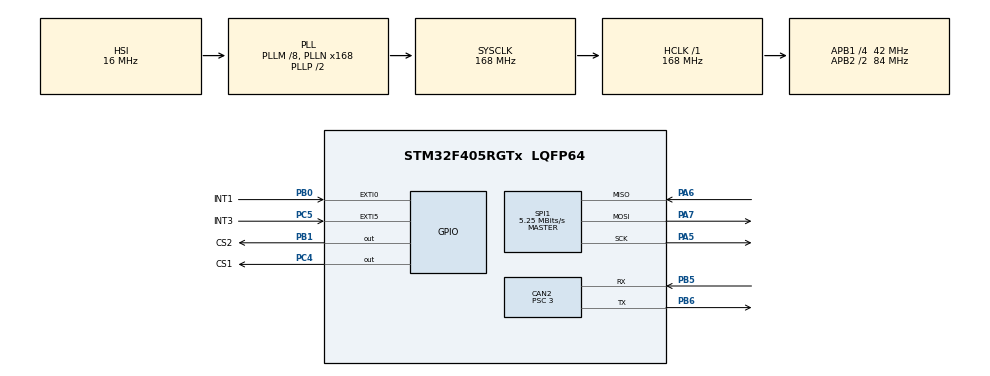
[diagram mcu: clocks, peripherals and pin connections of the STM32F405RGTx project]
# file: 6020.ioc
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CAN2.ABOM=ENABLE
CAN2.AWUM=ENABLE
CAN2.BS1=CAN_BS1_10TQ
CAN2.BS2=CAN_BS2_3TQ
CAN2.CalculateBaudRate=1000000
CAN2.CalculateTimeBit=1000
CAN2.CalculateTimeQuantum=71.42857142857143
CAN2.NART=ENABLE
CAN2.Prescaler=3
Dma.Request0=SPI1_RX
Dma.Request1=SPI1_TX
Dma.SPI1_RX.0.Direction=DMA_PERIPH_TO_MEMORY
Dma.SPI1_RX.0.FIFOMode=DMA_FIFOMODE_DISABLE
Dma.SPI1_RX.0.Instance=DMA2_Stream2
Dma.SPI1_RX.0.MemDataAlignment=DMA_MDATAALIGN_BYTE
Dma.SPI1_RX.0.MemInc=DMA_MINC_ENABLE
Dma.SPI1_RX.0.Mode=DMA_NORMAL
Dma.SPI1_RX.0.PeriphDataAlignment=DMA_PDATAALIGN_BYTE
Dma.SPI1_RX.0.PeriphInc=DMA_PINC_DISABLE
Dma.SPI1_RX.0.Priority=DMA_PRIORITY_VERY_HIGH
Dma.SPI1_TX.1.Direction=DMA_MEMORY_TO_PERIPH
Dma.SPI1_TX.1.FIFOMode=DMA_FIFOMODE_DISABLE
Dma.SPI1_TX.1.Instance=DMA2_Stream3
Dma.SPI1_TX.1.MemDataAlignment=DMA_MDATAALIGN_BYTE
Dma.SPI1_TX.1.MemInc=DMA_MINC_ENABLE
Dma.SPI1_TX.1.Mode=DMA_NORMAL
Dma.SPI1_TX.1.PeriphDataAlignment=DMA_PDATAALIGN_BYTE
Dma.SPI1_TX.1.PeriphInc=DMA_PINC_DISABLE
Dma.SPI1_TX.1.Priority=DMA_PRIORITY_HIGH
Mcu.Family=STM32F4
Mcu.Name=STM32F405RGTx
Mcu.Package=LQFP64
NVIC.CAN2_RX0_IRQn=true\:0\:0\:false\:false\:true\:true\:true\:true
NVIC.CAN2_TX_IRQn=true\:0\:0\:false\:false\:true\:true\:true\:true
NVIC.DMA2_Stream2_IRQn=true\:6\:0\:true\:false\:true\:false\:true\:true
NVIC.DMA2_Stream3_IRQn=true\:6\:0\:true\:false\:true\:false\:true\:true
NVIC.PriorityGroup=NVIC_PRIORITYGROUP_4
PA13.Mode=Serial_Wire
PA13.Signal=SYS_JTMS-SWDIO
PA14.Mode=Serial_Wire
PA14.Signal=SYS_JTCK-SWCLK
PA5.Mode=Full_Duplex_Master
PA5.Signal=SPI1_SCK
PA6.Mode=Full_Duplex_Master
PA6.Signal=SPI1_MISO
PA7.Mode=Full_Duplex_Master
PA7.Signal=SPI1_MOSI
PB0.GPIO_Label=INT1
PB0.GPIO_ModeDefaultEXTI=GPIO_MODE_IT_FALLING
PB0.GPIO_PuPd=GPIO_PULLUP
PB0.Signal=GPXTI0
PB1.GPIO_Label=CS2
PB1.GPIO_PuPd=GPIO_PULLUP
PB1.GPIO_Speed=GPIO_SPEED_FREQ_HIGH
PB1.PinState=GPIO_PIN_SET
PB1.Signal=GPIO_Output
PB5.Mode=CAN_Activate
PB5.Signal=CAN2_RX
PB6.Mode=CAN_Activate
PB6.Signal=CAN2_TX
PC4.GPIO_Label=CS1
PC4.GPIO_PuPd=GPIO_PULLUP
PC4.GPIO_Speed=GPIO_SPEED_FREQ_HIGH
PC4.PinState=GPIO_PIN_SET
PC4.Signal=GPIO_Output
PC5.GPIO_Label=INT3
PC5.GPIO_ModeDefaultEXTI=GPIO_MODE_IT_FALLING
PC5.GPIO_PuPd=GPIO_PULLUP
PC5.Signal=GPXTI5
PH0-OSC_IN.Mode=HSE-External-Oscillator
PH0-OSC_IN.Signal=RCC_OSC_IN
PH1-OSC_OUT.Mode=HSE-External-Oscillator
PH1-OSC_OUT.Signal=RCC_OSC_OUT
ProjectManager.HeapSize=0x200
ProjectManager.StackSize=0x400
ProjectManager.TargetToolchain=CMake
RCC.48MHZClocksFreq_Value=84000000
RCC.AHBFreq_Value=168000000
RCC.APB1CLKDivider=RCC_HCLK_DIV4
RCC.APB1Freq_Value=42000000
RCC.APB1TimFreq_Value=84000000
RCC.APB2CLKDivider=RCC_HCLK_DIV2
RCC.APB2Freq_Value=84000000
RCC.APB2TimFreq_Value=168000000
RCC.CortexFreq_Value=168000000
RCC.HCLKFreq_Value=168000000
RCC.HSE_VALUE=8000000
RCC.HSI_VALUE=16000000
RCC.LSE_VALUE=32768
RCC.PLLM=8
RCC.PLLN=168
RCC.SYSCLKFreq_VALUE=168000000
RCC.SYSCLKSource=RCC_SYSCLKSOURCE_PLLCLK
RCC.VCOOutputFreq_Value=336000000
SPI1.BaudRatePrescaler=SPI_BAUDRATEPRESCALER_16
SPI1.CLKPhase=SPI_PHASE_2EDGE
SPI1.CLKPolarity=SPI_POLARITY_HIGH
SPI1.CalculateBaudRate=5.25 MBits/s
SPI1.Direction=SPI_DIRECTION_2LINES
SPI1.Mode=SPI_MODE_MASTER
SPI1.VirtualType=VM_MASTER
board=custom

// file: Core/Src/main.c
/* USER CODE BEGIN Header */
/**
  ******************************************************************************
  * @file           : main.c
  * @brief          : Main program body
  ******************************************************************************
  * @attention
  *
  * Copyright (c) 2026 STMicroelectronics.
  * All rights reserved.
  *
  * This software is licensed under terms that can be found in the LICENSE file
  * in the root directory of this software component.
  * If no LICENSE file comes with this software, it is provided AS-IS.
  *
  ******************************************************************************
  */
/* USER CODE END Header */
#include "main.h"
#include "can.h"
#include "dma.h"
#include "spi.h"
#include "gpio.h"

/* USER CODE BEGIN Includes */

#include "stdio.h"
#include "stdarg.h"
#include "math.h"
#include "bsp_can.h"
#include "module_pid.h"
#include "../../User/Module/bmi088/BMI088driver.h"
#include "MahonyAHRS.h"

/* USER CODE END Includes */

/* USER CODE BEGIN PM */

extern moto_info_t motor_info[MOTOR_MAX_NUM];

#define OPEN_LOOP_TEST    0
#define OPEN_LOOP_VOLTAGE 5000

/* ===== 电机索引 =====================================================
 *
 *  ID2：反馈帧 0x206，motor_info[2]，控制帧 0x1FF v2 位置
 *  ID4：反馈帧 0x208，motor_info[4]，控制帧 0x1FF v4 位置
 *  两个电机共用同一个 prof_pos，同步正弦扫描
 *
 * ==================================================================== */
#define MOTOR2_IDX  2
#define MOTOR4_IDX  4

/* ===== IMU 参数 =====================================================
 *
 *  GYRO_CALIB_MS      上电静止校准时长（ms），期间采集陀螺零偏均值
 *  ACCEL_VALID_MIN/MAX 加速度幅值门限（m/s²），超出范围说明有线性加速度，
 *                      此时跳过加速度纠正，避免把振动/冲击当成重力方向
 *
 * ==================================================================== */
#define GYRO_CALIB_MS      2000       // 上电静止校准时长 2 秒 = 200 次采样
#define ACCEL_VALID_MIN    8.0f       // 有效加速度下限 m/s²（约 0.82g）
#define ACCEL_VALID_MAX    11.0f      // 有效加速度上限 m/s²（约 1.12g）

/* ===== 正弦扫描参数 ================================================= */
#define SCAN_AMP          40.0f
#define SCAN_FREQ          0.1f

#define SPEED_FF_GAIN      0.77f

#define HOMING_SPEED      20.0f
#define HOMING_THRESH      3.0f

#define ANGLE_KP           24.0f
#define ANGLE_KI           1.2f
#define ANGLE_KD           0.01f
#define ANGLE_I_MAX       40.0f
#define ANGLE_OUT_MAX    200.0f

#define SPEED_KP         120.0f
#define SPEED_KI           1.2f
#define SPEED_KD           0.5f
#define SPEED_I_MAX      3000.0f
#define SPEED_OUT_MAX   25000.0f

#define LPF_ALPHA          0.8f

// 每个电机独立的 PID 和状态
pid_struct_t angle_pid2,  angle_pid4;
pid_struct_t speed_pid2,  speed_pid4;

typedef enum {
  STATE_HOMING = 0,
  STATE_SCAN
} ctrl_state_t;

// 两个电机各自的归位状态，都到位后才开始扫描
ctrl_state_t state2 = STATE_HOMING;
ctrl_state_t state4 = STATE_HOMING;

// 共用虚拟目标和扫描相位
float prof_pos    = 0.0f;
float scan_phase  = 0.0f;
float dbg_spd_ff  = 0.0f;

// 各电机独立的低通滤波速度
float filtered_spd2 = 0.0f;
float filtered_spd4 = 0.0f;

// 上电零点
uint16_t zero_enc2 = 0;
uint16_t zero_enc4 = 0;

/* ===== Ozone 观测变量 ==============================================
 *
 *  电机相关：
 *  dbg_angle2 / dbg_angle4      当前角度（°）
 *  dbg_prof                     共用虚拟目标
 *  dbg_err2 / dbg_err4          跟踪误差
 *  dbg_voltage2 / dbg_voltage4  输出电压
 *  dbg_state                    0=归位  1=扫描
 *
 *  BMI088 原始数据：
 *  dbg_gyro_x/y/z               陀螺仪 rad/s
 *  dbg_accel_x/y/z              加速度计 m/s²
 *  dbg_temp                     IMU 温度 °C
 *  dbg_imu_error                0=初始化正常
 *
 *  Mahony 姿态融合输出（单位：度）：
 *  dbg_roll                     横滚角
 *  dbg_pitch                    俯仰角
 *  dbg_yaw                      航向角（无磁力计会缓慢漂移）
 *
 * ================================================================== */
volatile float  dbg_angle2      = 0.0f;
volatile float  dbg_angle4      = 0.0f;
volatile float  dbg_prof        = 0.0f;
volatile float  dbg_err2        = 0.0f;
volatile float  dbg_err4        = 0.0f;
volatile float  dbg_voltage2    = 0.0f;
volatile float  dbg_voltage4    = 0.0f;
volatile int    dbg_state       = 0;

volatile fp32   dbg_gyro_x      = 0.0f;
volatile fp32   dbg_gyro_y      = 0.0f;
volatile fp32   dbg_gyro_z      = 0.0f;
volatile fp32   dbg_accel_x     = 0.0f;
volatile fp32   dbg_accel_y     = 0.0f;
volatile fp32   dbg_accel_z     = 0.0f;
volatile fp32   dbg_temp        = 0.0f;
volatile uint8_t dbg_imu_error  = 0;

volatile float  dbg_roll        = 0.0f;
volatile float  dbg_pitch       = 0.0f;
volatile float  dbg_yaw         = 0.0f;

// 陀螺仪零偏（上电静止校准结果）
float gyro_bias[3]      = {0.0f, 0.0f, 0.0f};
// 欧拉角安装偏移（校准完成后第一帧姿态，之后输出时减掉，使上电即为零点）
float euler_offset[3]   = {0.0f, 0.0f, 0.0f};  // [roll, pitch, yaw]
// 校准状态：0=校准中，1=校准完成
volatile int imu_calib_done     = 0;
// Ozone 可观测：校准期间累计样本数
volatile int dbg_calib_samples  = 0;

/* USER CODE END PM */

void SystemClock_Config(void);

/* USER CODE BEGIN 0 */

// 编码器原始值 → 角度，以各自零点为 0°
float enc_to_angle(uint16_t enc, uint16_t zero)
{
  int32_t diff = (int32_t)enc - (int32_t)zero;
  if      (diff >  4096) diff -= 8192;
  else if (diff < -4096) diff += 8192;
  return (float)diff * 360.0f / 8192.0f;
}

float angle_err_calc(float target, float current)
{
  float e = target - current;
  if      (e >  180.0f) e -= 360.0f;
  else if (e < -180.0f) e += 360.0f;
  return e;
}

/* USER CODE END 0 */

int main(void)
{

  /* MCU Configuration--------------------------------------------------------*/

  HAL_Init();

  SystemClock_Config();

  MX_GPIO_Init();
  MX_DMA_Init();
  MX_CAN2_Init();
  MX_SPI1_Init();

  /* USER CODE BEGIN 2 */

  can_user_init(&hcan2);

  pid_init(&angle_pid2, ANGLE_KP, ANGLE_KI, ANGLE_KD, ANGLE_I_MAX, ANGLE_OUT_MAX);
  pid_init(&speed_pid2, SPEED_KP, SPEED_KI, SPEED_KD, SPEED_I_MAX, SPEED_OUT_MAX);
  pid_init(&angle_pid4, ANGLE_KP, ANGLE_KI, ANGLE_KD, ANGLE_I_MAX, ANGLE_OUT_MAX);
  pid_init(&speed_pid4, SPEED_KP, SPEED_KI, SPEED_KD, SPEED_I_MAX, SPEED_OUT_MAX);

  // BMI088 初始化（SPI1 就绪后调用）
  dbg_imu_error = BMI088_init();

  // 等第一帧 CAN 数据
  HAL_Delay(100);

  // 记录两个电机的上电零点
  zero_enc2     = motor_info[MOTOR2_IDX].rotor_angle;
  zero_enc4     = motor_info[MOTOR4_IDX].rotor_angle;
  prof_pos      = 0.0f;
  filtered_spd2 = (float)motor_info[MOTOR2_IDX].rotor_speed;
  filtered_spd4 = (float)motor_info[MOTOR4_IDX].rotor_speed;

  /* USER CODE END 2 */

  /* Infinite loop */
  /* USER CODE BEGIN WHILE */

  // Mahony 四元数初始值：单位四元数，表示无旋转
  // q[0]=w, q[1]=x, q[2]=y, q[3]=z
  float q[4] = {1.0f, 0.0f, 0.0f, 0.0f};

  // 上次 IMU 数据（DMA 未就绪时保持上一帧值）
  fp32 gyro[3]  = {0.0f, 0.0f, 0.0f};
  fp32 accel[3] = {0.0f, 0.0f, 0.0f};
  fp32 temp     = 0.0f;

  while (1)
  {
    /* USER CODE END WHILE */

    /* USER CODE BEGIN 3 */

    /* ---- 每次主循环都推进 DMA 状态机，无阻塞 ---- */
    BMI088_read_dma_trigger();

    static uint32_t last_tick = 0;
    if (HAL_GetTick() - last_tick >= 10)   // 10ms 周期 = 100Hz，与 MahonyAHRS.c 的 sampleFreq 一致
    {
      last_tick = HAL_GetTick();

      const float dt = 0.01f;

      // ---- BMI088 读取（非阻塞 DMA） ----
      if (BMI088_read_dma_is_ready())
      {
        BMI088_read_dma_get_data(gyro, accel, &temp);

        dbg_gyro_x  = gyro[0];
        dbg_gyro_y  = gyro[1];
        dbg_gyro_z  = gyro[2];
        dbg_accel_x = accel[0];
        dbg_accel_y = accel[1];
        dbg_accel_z = accel[2];
        dbg_temp    = temp;
      }
      /* DMA 未就绪时沿用上一帧 gyro/accel，Mahony 照常推进，不引入额外延迟 */

      // ---- 上电陀螺零偏校准（前 GYRO_CALIB_MS ms 静止采集均值） ----
      if (!imu_calib_done)
      {
        // 累加（使用 double 防止 200 次累加的精度损失）
        static double bias_sum[3] = {0.0, 0.0, 0.0};
        static int    calib_cnt   = 0;
        const  int    calib_total = GYRO_CALIB_MS / 10;  // 10ms/次 → 200 次

        bias_sum[0] += gyro[0];
        bias_sum[1] += gyro[1];
        bias_sum[2] += gyro[2];
        calib_cnt++;
        dbg_calib_samples = calib_cnt;

        if (calib_cnt >= calib_total)
        {
          gyro_bias[0]   = (float)(bias_sum[0] / calib_cnt);
          gyro_bias[1]   = (float)(bias_sum[1] / calib_cnt);
          gyro_bias[2]   = (float)(bias_sum[2] / calib_cnt);

          // 校准结束时让 Mahony 先收敛一次，记录此刻姿态作为零点偏移
          // 用校准期间最后一帧加速度做一次更新，让四元数对齐重力方向
          float gx0 = gyro[1] - gyro_bias[1];
          float gy0 = gyro[0] - gyro_bias[0];
          float gz0 = gyro[2] - gyro_bias[2];
          float ax0 = accel[1], ay0 = accel[0], az0 = accel[2];
          // 多跑几次让四元数收敛到当前姿态
          for (int i = 0; i < 500; i++)
            MahonyAHRSupdateIMU(q, gx0, gy0, gz0, ax0, ay0, az0);

          // 记录此刻欧拉角为安装偏移
          float sin_p0 = 2.0f * (q[0]*q[2] - q[3]*q[1]);
          if      (sin_p0 >  1.0f) sin_p0 =  1.0f;
          else if (sin_p0 < -1.0f) sin_p0 = -1.0f;
          euler_offset[0] = atan2f(2.0f*(q[0]*q[1]+q[2]*q[3]),
                                   1.0f-2.0f*(q[1]*q[1]+q[2]*q[2])) * rad_to_angle;
          euler_offset[1] = asinf(sin_p0) * rad_to_angle;
          euler_offset[2] = atan2f(2.0f*(q[0]*q[3]+q[1]*q[2]),
                                   1.0f-2.0f*(q[2]*q[2]+q[3]*q[3])) * rad_to_angle;

          imu_calib_done = 1;

          // 校准完成：清零 PID 积分，防止校准期间积分饱和导致冲击
          angle_pid2.i_out = 0.0f;  speed_pid2.i_out = 0.0f;
          angle_pid4.i_out = 0.0f;  speed_pid4.i_out = 0.0f;
          // 以校准结束时的编码器位置为新零点，平滑起步
          zero_enc2 = motor_info[MOTOR2_IDX].rotor_angle;
          zero_enc4 = motor_info[MOTOR4_IDX].rotor_angle;
          prof_pos  = 0.0f;
          state2    = STATE_HOMING;
          state4    = STATE_HOMING;
        }
        // 校准期间不更新姿态，直接跳过后续 IMU 处理
      }
      else
      {
        // ---- 减去陀螺零偏 ----
        float gx = gyro[1] - gyro_bias[1];
        float gy = gyro[0] - gyro_bias[0];
        float gz = gyro[2] - gyro_bias[2];

        // ---- 加速度幅值门限：接近 1g 才用于姿态纠正 ----
        float accel_norm = sqrtf(accel[0]*accel[0] + accel[1]*accel[1] + accel[2]*accel[2]);
        float ax, ay, az;
        if (accel_norm >= ACCEL_VALID_MIN && accel_norm <= ACCEL_VALID_MAX)
        {
          // 幅值正常，使用真实加速度
          ax = accel[1];
          ay = accel[0];
          az = accel[2];
        }
        else
        {
          // 幅值异常（有线性加速度），传入全零让 Mahony 跳过加速度纠正
          ax = 0.0f; ay = 0.0f; az = 0.0f;
        }

        // ---- Mahony 姿态融合 ----
        MahonyAHRSupdateIMU(q, gx, gy, gz, ax, ay, az);

        // ---- 四元数 → 欧拉角（ZYX，单位：度，范围 -180 ~ +180） ----
        {
          float sin_p = 2.0f * (q[0]*q[2] - q[3]*q[1]);
          if      (sin_p >  1.0f) sin_p =  1.0f;
          else if (sin_p < -1.0f) sin_p = -1.0f;

          float roll  = atan2f(2.0f * (q[0]*q[1] + q[2]*q[3]),
                               1.0f - 2.0f * (q[1]*q[1] + q[2]*q[2])) * rad_to_angle;
          float pitch = asinf(sin_p) * rad_to_angle;
          float yaw   = atan2f(2.0f * (q[0]*q[3] + q[1]*q[2]),
                               1.0f - 2.0f * (q[2]*q[2] + q[3]*q[3])) * rad_to_angle;

          // 减去安装偏移，使上电姿态为零点
          roll  -= euler_offset[0];
          pitch -= euler_offset[1];
          yaw   -= euler_offset[2];

          // 规范化到 [-180, +180)
          // 注意：pitch 的物理范围本身是 [-90, +90]，不做翻折处理
          if (roll  >  180.0f) roll  -= 360.0f;
          if (roll  < -180.0f) roll  += 360.0f;
          if (yaw   >  180.0f) yaw   -= 360.0f;
          if (yaw   < -180.0f) yaw   += 360.0f;

          dbg_roll  = roll;
          dbg_pitch = pitch;
          dbg_yaw   = yaw;
        }
      }

#if OPEN_LOOP_TEST
      set_motor_voltage(0, 0, (int16_t)OPEN_LOOP_VOLTAGE,
                              0,
                              (int16_t)OPEN_LOOP_VOLTAGE);

#else
      // 校准未完成：锁零输出，跳过全部电机控制逻辑
      if (!imu_calib_done)
      {
        set_motor_voltage(0, 0, 0, 0, 0);
        goto end_of_control;
      }

      // 读取两个电机反馈
      dbg_angle2 = enc_to_angle(motor_info[MOTOR2_IDX].rotor_angle, zero_enc2);
      dbg_angle4 = enc_to_angle(motor_info[MOTOR4_IDX].rotor_angle, zero_enc4);

      float spd2 = (float)motor_info[MOTOR2_IDX].rotor_speed;
      float spd4 = (float)motor_info[MOTOR4_IDX].rotor_speed;

      filtered_spd2 = LPF_ALPHA * spd2 + (1.0f - LPF_ALPHA) * filtered_spd2;
      filtered_spd4 = LPF_ALPHA * spd4 + (1.0f - LPF_ALPHA) * filtered_spd4;

      // 归位阶段：两个电机都归位到 0° 才开始扫描
      if (state2 == STATE_HOMING)
      {
        float step = HOMING_SPEED * dt;
        float diff = angle_err_calc(0.0f, prof_pos);
        if      (diff >  step) prof_pos += step;
        else if (diff < -step) prof_pos -= step;
        else                   prof_pos  = 0.0f;

        if (fabsf(angle_err_calc(0.0f, dbg_angle2)) < HOMING_THRESH)
          state2 = STATE_SCAN;
      }

      if (state4 == STATE_HOMING)
      {
        if (fabsf(angle_err_calc(0.0f, dbg_angle4)) < HOMING_THRESH)
          state4 = STATE_SCAN;
      }

      // 两个都归位完成后才开始扫描
      int both_scanning = (state2 == STATE_SCAN && state4 == STATE_SCAN);
      dbg_state = both_scanning;

      if (both_scanning)
      {
        scan_phase += dt;
        float omega    = 2.0f * (float)M_PI * SCAN_FREQ;
        prof_pos       = SCAN_AMP * sinf(omega * scan_phase);
        float ff_deg_s = SCAN_AMP * omega * cosf(omega * scan_phase);
        dbg_spd_ff     = ff_deg_s * SPEED_FF_GAIN;
      }

      dbg_prof = prof_pos;

      // ---- ID2 PID ----
      {
        dbg_err2             = angle_err_calc(prof_pos, dbg_angle2);
        angle_pid2.err[1]    = angle_pid2.err[0];
        angle_pid2.err[0]    = dbg_err2;
        angle_pid2.p_out     = angle_pid2.kp * angle_pid2.err[0];
        angle_pid2.i_out    += angle_pid2.ki * angle_pid2.err[0];
        LIMIT_MIN_MAX(angle_pid2.i_out, -angle_pid2.i_max, angle_pid2.i_max);
        angle_pid2.d_out     = angle_pid2.kd * (angle_pid2.err[0] - angle_pid2.err[1]);
        float pid_spd2       = angle_pid2.p_out + angle_pid2.i_out + angle_pid2.d_out;

        float spd_target2    = pid_spd2 + dbg_spd_ff;
        LIMIT_MIN_MAX(spd_target2, -angle_pid2.out_max, angle_pid2.out_max);

        float spd_err2       = spd_target2 - filtered_spd2;
        speed_pid2.err[1]    = speed_pid2.err[0];
        speed_pid2.err[0]    = spd_err2;
        speed_pid2.p_out     = speed_pid2.kp * speed_pid2.err[0];
        speed_pid2.i_out    += speed_pid2.ki * speed_pid2.err[0];
        LIMIT_MIN_MAX(speed_pid2.i_out, -speed_pid2.i_max, speed_pid2.i_max);
        speed_pid2.d_out     = speed_pid2.kd * (speed_pid2.err[0] - speed_pid2.err[1]);
        dbg_voltage2         = speed_pid2.p_out + speed_pid2.i_out + speed_pid2.d_out;
        LIMIT_MIN_MAX(dbg_voltage2, -speed_pid2.out_max, speed_pid2.out_max);
      }

      // ---- ID4 PID ----
      {
        dbg_err4             = angle_err_calc(prof_pos, dbg_angle4);
        angle_pid4.err[1]    = angle_pid4.err[0];
        angle_pid4.err[0]    = dbg_err4;
        angle_pid4.p_out     = angle_pid4.kp * angle_pid4.err[0];
        angle_pid4.i_out    += angle_pid4.ki * angle_pid4.err[0];
        LIMIT_MIN_MAX(angle_pid4.i_out, -angle_pid4.i_max, angle_pid4.i_max);
        angle_pid4.d_out     = angle_pid4.kd * (angle_pid4.err[0] - angle_pid4.err[1]);
        float pid_spd4       = angle_pid4.p_out + angle_pid4.i_out + angle_pid4.d_out;

        float spd_target4    = pid_spd4 + dbg_spd_ff;
        LIMIT_MIN_MAX(spd_target4, -angle_pid4.out_max, angle_pid4.out_max);

        float spd_err4       = spd_target4 - filtered_spd4;
        speed_pid4.err[1]    = speed_pid4.err[0];
        speed_pid4.err[0]    = spd_err4;
        speed_pid4.p_out     = speed_pid4.kp * speed_pid4.err[0];
        speed_pid4.i_out    += speed_pid4.ki * speed_pid4.err[0];
        LIMIT_MIN_MAX(speed_pid4.i_out, -speed_pid4.i_max, speed_pid4.i_max);
        speed_pid4.d_out     = speed_pid4.kd * (speed_pid4.err[0] - speed_pid4.err[1]);
        dbg_voltage4         = speed_pid4.p_out + speed_pid4.i_out + speed_pid4.d_out;
        LIMIT_MIN_MAX(dbg_voltage4, -speed_pid4.out_max, speed_pid4.out_max);
      }

      // 一帧同时发送两个电机的电压
      set_motor_voltage(0,
                        0,
                        (int16_t)dbg_voltage2,
                        0,
                        (int16_t)dbg_voltage4);

      end_of_control:;

#endif
    }

  }
  /* USER CODE END 3 */
}

void SystemClock_Config(void)
{
  RCC_OscInitTypeDef RCC_OscInitStruct = {0};
  RCC_ClkInitTypeDef RCC_ClkInitStruct = {0};

  __HAL_RCC_PWR_CLK_ENABLE();
  __HAL_PWR_VOLTAGESCALING_CONFIG(PWR_REGULATOR_VOLTAGE_SCALE1);

  RCC_OscInitStruct.OscillatorType = RCC_OSCILLATORTYPE_HSI;
  RCC_OscInitStruct.HSIState = RCC_HSI_ON;
  RCC_OscInitStruct.HSICalibrationValue = RCC_HSICALIBRATION_DEFAULT;
  RCC_OscInitStruct.PLL.PLLState = RCC_PLL_ON;
  RCC_OscInitStruct.PLL.PLLSource = RCC_PLLSOURCE_HSI;
  RCC_OscInitStruct.PLL.PLLM = 8;
  RCC_OscInitStruct.PLL.PLLN = 168;
  RCC_OscInitStruct.PLL.PLLP = RCC_PLLP_DIV2;
  RCC_OscInitStruct.PLL.PLLQ = 4;
  if (HAL_RCC_OscConfig(&RCC_OscInitStruct) != HAL_OK)
  {
    Error_Handler();
  }

  RCC_ClkInitStruct.ClockType = RCC_CLOCKTYPE_HCLK|RCC_CLOCKTYPE_SYSCLK
                              |RCC_CLOCKTYPE_PCLK1|RCC_CLOCKTYPE_PCLK2;
  RCC_ClkInitStruct.SYSCLKSource = RCC_SYSCLKSOURCE_PLLCLK;
  RCC_ClkInitStruct.AHBCLKDivider = RCC_SYSCLK_DIV1;
  RCC_ClkInitStruct.APB1CLKDivider = RCC_HCLK_DIV4;
  RCC_ClkInitStruct.APB2CLKDivider = RCC_HCLK_DIV2;

  if (HAL_RCC_ClockConfig(&RCC_ClkInitStruct, FLASH_LATENCY_5) != HAL_OK)
  {
    Error_Handler();
  }
}

void Error_Handler(void)
{
  __disable_irq();
  while (1) {}
}
